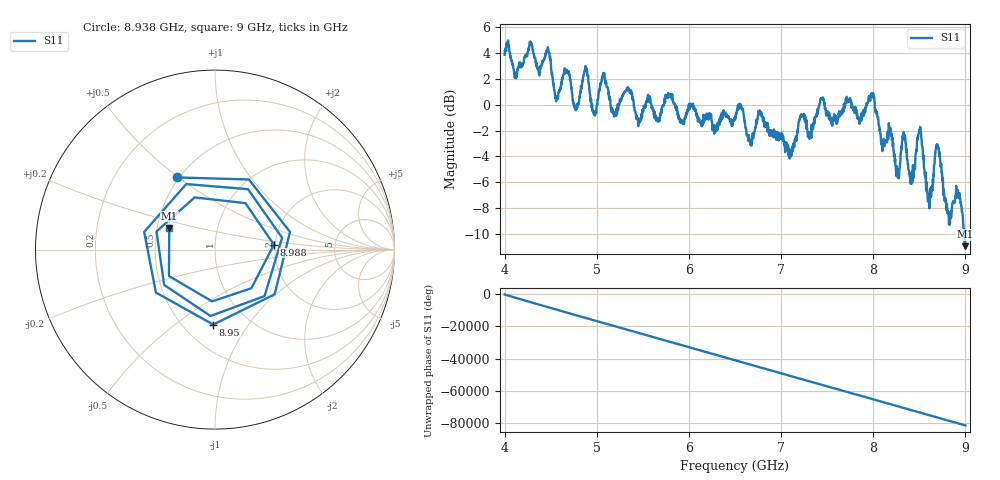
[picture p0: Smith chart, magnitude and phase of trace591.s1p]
! Created with skrf 1.8.0 (http://scikit-rf.org).
# Hz S RI R 50.0
!freq ReS11 ImS11
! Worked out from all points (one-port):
!   1601 points, 4 GHz to 9 GHz, reference 50 ohm
!   lowest |S11| = -11.0 dB at 9 GHz (marker M1), VSWR 1.79, Z = 28.9 + j7.62 ohm
!   |S11| at or under -10 dB: 8.980558 GHz to 8.985402 GHz (4.843 MHz wide, 0.0539 % of centre); 8.989129 GHz to end of sweep
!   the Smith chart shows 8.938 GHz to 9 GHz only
!   S11 on the Smith chart (normalised r, x): 8.938 GHz: 0.49, +0.49; 8.95 GHz: 0.69, -0.70; 8.988 GHz: 1.97, +0.12; 9 GHz: 0.58, +0.15
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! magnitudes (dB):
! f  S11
! 4 GHz  3.9
! 4.119 GHz  2.1
! 4.469 GHz  4.5
! 4.556 GHz  0.6
! 4.625 GHz  2.1
! 4.772 GHz  -0.4
! 4.881 GHz  2.9
! 4.969 GHz  -0.8
! 5.066 GHz  2.2
! 5.25 GHz  0.4
! 5.875 GHz  -0.5
! 6.5 GHz  -1.0
! 7.125 GHz  -3.2
! 7.441 GHz  0.5
! 7.75 GHz  0.5
! 7.988 GHz  0.7
! 8.259 GHz  -5.3
! 8.328 GHz  -2.3
! 8.375 GHz  -4.6
! 8.428 GHz  -5.2
! 8.5 GHz  -2.0
! 8.597 GHz  -7.2
! 8.697 GHz  -3.1
! 8.822 GHz  -9.3
! 8.938 GHz  -6.9
! 8.95 GHz  -7.6
! 8.988 GHz  -9.6
! 9 GHz  -11.0
